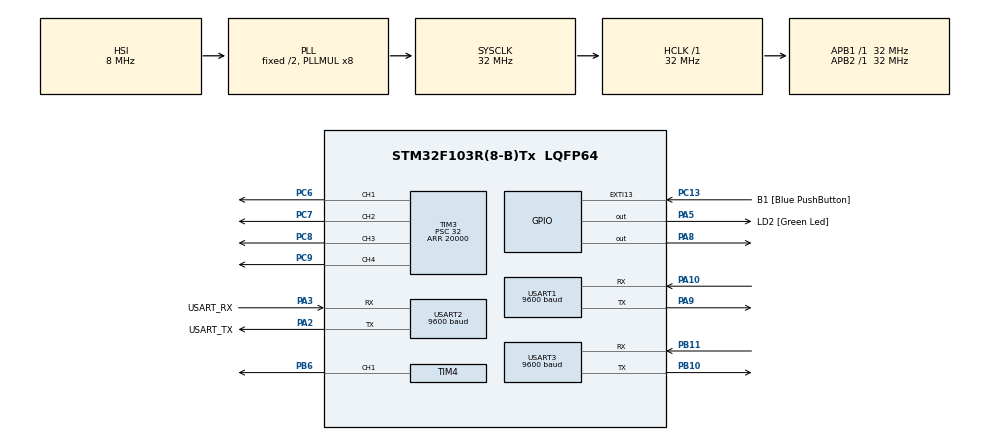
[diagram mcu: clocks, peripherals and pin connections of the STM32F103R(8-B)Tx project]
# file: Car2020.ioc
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Mcu.Family=STM32F1
Mcu.Name=STM32F103R(8-B)Tx
Mcu.Package=LQFP64
NVIC.EXTI15_10_IRQn=true\:3\:0\:true\:false\:true\:true\:true
NVIC.PriorityGroup=NVIC_PRIORITYGROUP_4
NVIC.TIM3_IRQn=true\:0\:0\:false\:true\:true\:1\:true\:true
NVIC.USART1_IRQn=true\:1\:0\:true\:false\:true\:true\:true
NVIC.USART2_IRQn=true\:2\:0\:true\:false\:true\:true\:true
PA10.Mode=Asynchronous
PA10.Signal=USART1_RX
PA13.GPIO_Label=TMS
PA13.Mode=Serial_Wire
PA13.Signal=SYS_JTMS-SWDIO
PA14.GPIO_Label=TCK
PA14.Mode=Serial_Wire
PA14.Signal=SYS_JTCK-SWCLK
PA2.GPIO_Label=USART_TX
PA2.GPIO_Mode=GPIO_MODE_AF_PP
PA2.GPIO_PuPd=GPIO_NOPULL
PA2.GPIO_Speed=GPIO_SPEED_FREQ_HIGH
PA2.Mode=Asynchronous
PA2.Signal=USART2_TX
PA3.GPIO_Label=USART_RX
PA3.GPIO_Mode=GPIO_MODE_AF_PP
PA3.GPIO_PuPd=GPIO_NOPULL
PA3.GPIO_Speed=GPIO_SPEED_FREQ_LOW
PA3.Mode=Asynchronous
PA3.Signal=USART2_RX
PA5.GPIO_Label=LD2 [Green Led]
PA5.GPIO_ModeDefaultOutputPP=GPIO_MODE_OUTPUT_PP
PA5.GPIO_PuPd=GPIO_NOPULL
PA5.GPIO_Speed=GPIO_SPEED_FREQ_LOW
PA5.Signal=GPIO_Output
PA8.Signal=GPIO_Output
PA9.Mode=Asynchronous
PA9.Signal=USART1_TX
PB10.Mode=Asynchronous
PB10.Signal=USART3_TX
PB11.Mode=Asynchronous
PB11.Signal=USART3_RX
PB3.GPIO_Label=SWO
PB3.Signal=SYS_JTDO-TRACESWO
PB6.GPIO_Speed=GPIO_SPEED_FREQ_HIGH
PB6.Signal=S_TIM4_CH1
PC13-TAMPER-RTC.GPIO_Label=B1 [Blue PushButton]
PC13-TAMPER-RTC.GPIO_PuPd=GPIO_NOPULL
PC13-TAMPER-RTC.Signal=GPXTI13
PC14-OSC32_IN.Mode=LSE-External-Oscillator
PC14-OSC32_IN.Signal=RCC_OSC32_IN
PC15-OSC32_OUT.Mode=LSE-External-Oscillator
PC15-OSC32_OUT.Signal=RCC_OSC32_OUT
PC6.GPIO_Speed=GPIO_SPEED_FREQ_LOW
PC6.Signal=S_TIM3_CH1
PC7.GPIO_Speed=GPIO_SPEED_FREQ_LOW
PC7.Signal=S_TIM3_CH2
PC8.Signal=S_TIM3_CH3
PC9.Signal=S_TIM3_CH4
PD0-OSC_IN.Mode=HSE-External-Clock-Source
PD0-OSC_IN.Signal=RCC_OSC_IN
PD1-OSC_OUT.Mode=HSE-External-Clock-Source
PD1-OSC_OUT.Signal=RCC_OSC_OUT
ProjectManager.HeapSize=0x200
ProjectManager.StackSize=0x400
ProjectManager.TargetToolchain=STM32CubeIDE
RCC.AHBFreq_Value=32000000
RCC.APB1Freq_Value=32000000
RCC.APB1TimFreq_Value=32000000
RCC.APB2Freq_Value=32000000
RCC.APB2TimFreq_Value=32000000
RCC.HCLKFreq_Value=32000000
RCC.PLLMUL=RCC_PLL_MUL8
RCC.RTCClockSelection=RCC_RTCCLKSOURCE_LSE
RCC.SYSCLKFreq_VALUE=32000000
RCC.SYSCLKSource=RCC_SYSCLKSOURCE_PLLCLK
RCC.USBFreq_Value=32000000
SH.S_TIM3_CH1.0=TIM3_CH1,PWM Generation1 CH1
SH.S_TIM3_CH2.0=TIM3_CH2,PWM Generation2 CH2
SH.S_TIM3_CH3.0=TIM3_CH3,PWM Generation3 CH3
SH.S_TIM3_CH4.0=TIM3_CH4,PWM Generation4 CH4
SH.S_TIM4_CH1.0=TIM4_CH1,PWM Generation1 CH1
TIM3.AutoReloadPreload=TIM_AUTORELOAD_PRELOAD_ENABLE
TIM3.Channel-PWM\ Generation1\ CH1=TIM_CHANNEL_1
TIM3.Channel-PWM\ Generation2\ CH2=TIM_CHANNEL_2
TIM3.Channel-PWM\ Generation3\ CH3=TIM_CHANNEL_3
TIM3.Channel-PWM\ Generation4\ CH4=TIM_CHANNEL_4
TIM3.OCPolarity_2=TIM_OCPOLARITY_HIGH
TIM3.Period=20000
TIM3.Prescaler=32
TIM3.Pulse-PWM\ Generation1\ CH1=1000
TIM3.Pulse-PWM\ Generation2\ CH2=15000
TIM3.Pulse-PWM\ Generation3\ CH3=15000
TIM3.Pulse-PWM\ Generation4\ CH4=15000
TIM3.TIM_MasterOutputTrigger=TIM_TRGO_UPDATE
TIM4.AutoReloadPreload=TIM_AUTORELOAD_PRELOAD_ENABLE
TIM4.Channel-PWM\ Generation1\ CH1=TIM_CHANNEL_1
TIM4.Period=20000
TIM4.Prescaler=32
TIM4.Pulse-PWM\ Generation1\ CH1=15000
USART1.BaudRate=9600
USART1.Parity=PARITY_NONE
USART1.VirtualMode=VM_ASYNC
USART2.BaudRate=9600
USART2.VirtualMode=VM_ASYNC
USART3.BaudRate=9600
USART3.VirtualMode=VM_ASYNC
VP_TIM4_VS_ClockSourceINT.Mode=Internal
board=NUCLEO-F103RB

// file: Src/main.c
/* USER CODE BEGIN Header */
/**
  ******************************************************************************
  * @file           : main.c
  * @brief          : Main program body
  ******************************************************************************
  * @attention
  *
  * <h2><center>&copy; Copyright (c) 2019 STMicroelectronics.
  * All rights reserved.</center></h2>
  *
  * This software component is licensed by ST under BSD 3-Clause license,
  * the "License"; You may not use this file except in compliance with the
  * License. You may obtain a copy of the License at:
  *                        opensource.org/licenses/BSD-3-Clause
  *
  ******************************************************************************
  */
/* USER CODE END Header */

#include "main.h"

/* USER CODE BEGIN PTD */
//#define prj_ARDUCONTROL
/* USER CODE END PTD */

/* USER CODE BEGIN PD */
#define PWM_NEUTRAL_POSTION 1500
#define PWM_FORWARD_OFFSET  50
#define PWM_BACKWARD_OFFSET -40
/* USER CODE END PD */

TIM_HandleTypeDef htim3;
TIM_HandleTypeDef htim4;

UART_HandleTypeDef huart1;
UART_HandleTypeDef huart2;
UART_HandleTypeDef huart3;

void SystemClock_Config(void);
static void MX_GPIO_Init(void);
static void MX_USART2_UART_Init(void);
static void MX_USART3_UART_Init(void);
static void MX_TIM3_Init(void);
static void MX_USART1_UART_Init(void);
static void MX_TIM4_Init(void);
static void MX_NVIC_Init(void);

/* USER CODE BEGIN 0 */
uint8_t rx_data;
HAL_UART_StateTypeDef state;
HAL_StatusTypeDef uart_status_rx;
HAL_StatusTypeDef uart_status_tx;
char tx_data[2] ={'A','T'};
TIM_OC_InitTypeDef sConfigOC_app = {0};
uint8_t x_pos;
uint8_t y_pos;
uint8_t transmit_counter=0;
uint8_t mirror_buffer[20];

int32_t led1_value;
int32_t led2_value;

int32_t speed_value;
int32_t steering_value;

uint8_t uart_usb_tx_buf[20]={"\nHello my PC!\n"};

uint8_t xstring[20]={"\nXpos lautet: "};
uint8_t ystring[20]={"\nYpos lautet: "};

uint8_t buffer[2];

/* USER CODE END 0 */

int main(void)
{

  /* MCU Configuration--------------------------------------------------------*/

  /* Reset of all peripherals, Initializes the Flash interface and the Systick. */
  HAL_Init();

  /* Configure the system clock */
  SystemClock_Config();

  /* Initialize all configured peripherals */
  MX_GPIO_Init();
  MX_USART2_UART_Init();
  MX_USART3_UART_Init();
  MX_TIM3_Init();
  MX_USART1_UART_Init();
  MX_TIM4_Init();

  /* Initialize interrupts */
  MX_NVIC_Init();
  /* USER CODE BEGIN 2 */
  HAL_UART_Init(&huart1);
//  HAL_TIM_Base_Start(&htim3);

  HAL_TIM_PWM_Start(&htim3, TIM_CHANNEL_2);
  HAL_TIM_PWM_Start(&htim3, TIM_CHANNEL_1);

  /* USER CODE END 2 */

  /* Infinite loop */
  /* USER CODE BEGIN WHILE */
  while (1)
  {
//	  uint8_t buffer_0;

//	  memset(&buffer[0], 0, 100);
//	  uart_status_rx=HAL_UART_Receive(&huart1, buffer, sizeof(buffer),100);

	  /* Receive signal from PC */
//	  if(HAL_UART_Receive(&huart2, buffer, sizeof(buffer),10)!= HAL_TIMEOUT)
//	  {
//		  led2_value = buffer[0];
////		  led1_value = buffer[1];
//	  }
//	  led2_value = buffer[0];
//
//	  	  __HAL_TIM_SET_COMPARE(&htim3,TIM_CHANNEL_1,led2_value*10);

	  /* Receive signal from HC06 */
	  HAL_UART_Receive_IT(&huart1, &buffer[0], sizeof(buffer));

	  /* process new signal for motor driver */

	  if(buffer[0] != steering_value)
	  {
		  steering_value = buffer[0];
		  __HAL_TIM_SET_COMPARE(&htim3,TIM_CHANNEL_2, 1000+steering_value*10);
	  }
	  if(buffer[1] != speed_value)
	  {
	     speed_value=buffer[1];

	     if(speed_value<=50)
	     {
	     __HAL_TIM_SET_COMPARE(&htim3,TIM_CHANNEL_1,PWM_NEUTRAL_POSTION+PWM_FORWARD_OFFSET+(50-speed_value)/4);
	     }
	  }

			 /*old code for bluetooth control */
//	  if(buffer[0]!=led1_value)
//	  {
//		  led1_value = buffer[0];
//		  __HAL_TIM_SET_COMPARE(&htim3,TIM_CHANNEL_2, 1000+led1_value*10);
//	  }
//	  if(buffer[1]!=led2_value)
//	  {
//		  led2_value = buffer[1];
//
//		  led2_value-=50;
//		  //__HAL_TIM_SET_COMPARE(&htim3,TIM_CHANNEL_1,1400+led2_value*2);
//		  __HAL_TIM_SET_COMPARE(&htim3,TIM_CHANNEL_1,1500+led2_value*2);
//	  }
//
//	  HAL_UART_Transmit(&huart2,&buffer[0], sizeof(buffer), 20);

//	  HAL_UART_Transmit(&huart1, buffer, sizeof(buffer),100);
//
//	  buffer_0=buffer[0];
//
//	  x_pos=buffer[0];
//	  y_pos=buffer[1];
//
//
//	  if(x_pos<0)
//	  {
//		  x_pos=-x_pos;
//	  }
//	  if(x_pos>100)
//	  {
//		  x_pos=100;
//	  }
//
//	  if(y_pos<0)
//	  {
//		  y_pos=0;
//	  }
//	  if(y_pos>100)
//	 	  {
//	 		  y_pos=100;
//	 	  }

//	  transmit_counter++;

//	  if(transmit_counter==5 /*&& uart_status_rx==HAL_OK*/)
//	  {
//		  uart_status_rx=HAL_UART_Receive(&huart2,&mirror_buffer[0], 20, 1000);
//	  HAL_UART_Transmit(&huart2,&uart_usb_tx_buf[0], sizeof(uart_usb_tx_buf), 1000);
//	  HAL_UART_Transmit(&huart2,&xstring[0], sizeof(xstring), 1000);
//	   HAL_UART_Transmit(&huart2,&buffer[0], 1, 1000);
//	  HAL_UART_Transmit(&huart2,&ystring[0], sizeof(ystring), 1000);

//		  if(uart_status_rx==HAL_OK)
//		  {
//			  HAL_UART_Transmit(&huart2,&mirror_buffer[0], 20, 1000);
//		  }
//		  transmit_counter=0;
////	  }
//
//		  HAL_UART_Transmit(&huart2,&mirror_buffer[0], 20, 1000);
//
//	  if(buffer_0>100)
//	  {
//		  HAL_GPIO_WritePin(GPIOA, GPIO_PIN_8, GPIO_PIN_SET);
//
//	  }
//	  else
//	  {
//		  HAL_GPIO_WritePin(GPIOA, GPIO_PIN_8, GPIO_PIN_RESET);
//	  }

	/* set PWM of LEDs */

//      &htim3->Instance->ARR=led1_value*20;
//	  htim3.Instance->ARR=led1_value*20;

//	  __HAL_TIM_SET_AUTORELOAD(&htim3, led1_value*20);

//	  __HAL_TIM_SET_COMPARE(&htim3,TIM_CHANNEL_2, 1000+led1_value*10);
//
//	  __HAL_TIM_SET_COMPARE(&htim3,TIM_CHANNEL_1,1000+led2_value*10);

    /* USER CODE END WHILE */

  }
}

void SystemClock_Config(void)
{
  RCC_OscInitTypeDef RCC_OscInitStruct = {0};
  RCC_ClkInitTypeDef RCC_ClkInitStruct = {0};

  /** Initializes the CPU, AHB and APB busses clocks
  */
  RCC_OscInitStruct.OscillatorType = RCC_OSCILLATORTYPE_HSI;
  RCC_OscInitStruct.HSIState = RCC_HSI_ON;
  RCC_OscInitStruct.HSICalibrationValue = RCC_HSICALIBRATION_DEFAULT;
  RCC_OscInitStruct.PLL.PLLState = RCC_PLL_ON;
  RCC_OscInitStruct.PLL.PLLSource = RCC_PLLSOURCE_HSI_DIV2;
  RCC_OscInitStruct.PLL.PLLMUL = RCC_PLL_MUL8;
  if (HAL_RCC_OscConfig(&RCC_OscInitStruct) != HAL_OK)
  {
    Error_Handler();
  }
  /** Initializes the CPU, AHB and APB busses clocks
  */
  RCC_ClkInitStruct.ClockType = RCC_CLOCKTYPE_HCLK|RCC_CLOCKTYPE_SYSCLK
                              |RCC_CLOCKTYPE_PCLK1|RCC_CLOCKTYPE_PCLK2;
  RCC_ClkInitStruct.SYSCLKSource = RCC_SYSCLKSOURCE_PLLCLK;
  RCC_ClkInitStruct.AHBCLKDivider = RCC_SYSCLK_DIV1;
  RCC_ClkInitStruct.APB1CLKDivider = RCC_HCLK_DIV1;
  RCC_ClkInitStruct.APB2CLKDivider = RCC_HCLK_DIV1;

  if (HAL_RCC_ClockConfig(&RCC_ClkInitStruct, FLASH_LATENCY_1) != HAL_OK)
  {
    Error_Handler();
  }
}

/**
  * @brief NVIC Configuration.
  * @retval None
  */
static void MX_NVIC_Init(void)
{
  /* TIM3_IRQn interrupt configuration */
  HAL_NVIC_SetPriority(TIM3_IRQn, 0, 0);
  HAL_NVIC_EnableIRQ(TIM3_IRQn);
}

static void MX_TIM3_Init(void)
{

  TIM_MasterConfigTypeDef sMasterConfig = {0};
  TIM_OC_InitTypeDef sConfigOC = {0};

  htim3.Instance = TIM3;
  htim3.Init.Prescaler = 32;
  htim3.Init.CounterMode = TIM_COUNTERMODE_UP;
  htim3.Init.Period = 20000;
  htim3.Init.ClockDivision = TIM_CLOCKDIVISION_DIV1;
  htim3.Init.AutoReloadPreload = TIM_AUTORELOAD_PRELOAD_ENABLE;
  if (HAL_TIM_PWM_Init(&htim3) != HAL_OK)
  {
    Error_Handler();
  }
  sMasterConfig.MasterOutputTrigger = TIM_TRGO_UPDATE;
  sMasterConfig.MasterSlaveMode = TIM_MASTERSLAVEMODE_DISABLE;
  if (HAL_TIMEx_MasterConfigSynchronization(&htim3, &sMasterConfig) != HAL_OK)
  {
    Error_Handler();
  }
  sConfigOC.OCMode = TIM_OCMODE_PWM1;
  sConfigOC.Pulse = 1500;
  sConfigOC.OCPolarity = TIM_OCPOLARITY_HIGH;
  sConfigOC.OCFastMode = TIM_OCFAST_DISABLE;
  if (HAL_TIM_PWM_ConfigChannel(&htim3, &sConfigOC, TIM_CHANNEL_1) != HAL_OK)
  {
    Error_Handler();
  }
  sConfigOC.Pulse = 1500;
  if (HAL_TIM_PWM_ConfigChannel(&htim3, &sConfigOC, TIM_CHANNEL_2) != HAL_OK)
  {
    Error_Handler();
  }
  if (HAL_TIM_PWM_ConfigChannel(&htim3, &sConfigOC, TIM_CHANNEL_3) != HAL_OK)
  {
    Error_Handler();
  }
  if (HAL_TIM_PWM_ConfigChannel(&htim3, &sConfigOC, TIM_CHANNEL_4) != HAL_OK)
  {
    Error_Handler();
  }
  HAL_TIM_MspPostInit(&htim3);

}

static void MX_TIM4_Init(void)
{

  TIM_ClockConfigTypeDef sClockSourceConfig = {0};
  TIM_MasterConfigTypeDef sMasterConfig = {0};
  TIM_OC_InitTypeDef sConfigOC = {0};

  htim4.Instance = TIM4;
  htim4.Init.Prescaler = 32;
  htim4.Init.CounterMode = TIM_COUNTERMODE_UP;
  htim4.Init.Period = 20000;
  htim4.Init.ClockDivision = TIM_CLOCKDIVISION_DIV1;
  htim4.Init.AutoReloadPreload = TIM_AUTORELOAD_PRELOAD_ENABLE;
  if (HAL_TIM_Base_Init(&htim4) != HAL_OK)
  {
    Error_Handler();
  }
  sClockSourceConfig.ClockSource = TIM_CLOCKSOURCE_INTERNAL;
  if (HAL_TIM_ConfigClockSource(&htim4, &sClockSourceConfig) != HAL_OK)
  {
    Error_Handler();
  }
  if (HAL_TIM_PWM_Init(&htim4) != HAL_OK)
  {
    Error_Handler();
  }
  sMasterConfig.MasterOutputTrigger = TIM_TRGO_RESET;
  sMasterConfig.MasterSlaveMode = TIM_MASTERSLAVEMODE_DISABLE;
  if (HAL_TIMEx_MasterConfigSynchronization(&htim4, &sMasterConfig) != HAL_OK)
  {
    Error_Handler();
  }
  sConfigOC.OCMode = TIM_OCMODE_PWM1;
  sConfigOC.Pulse = 15000;
  sConfigOC.OCPolarity = TIM_OCPOLARITY_HIGH;
  sConfigOC.OCFastMode = TIM_OCFAST_DISABLE;
  if (HAL_TIM_PWM_ConfigChannel(&htim4, &sConfigOC, TIM_CHANNEL_1) != HAL_OK)
  {
    Error_Handler();
  }
  HAL_TIM_MspPostInit(&htim4);

}

static void MX_USART1_UART_Init(void)
{

  huart1.Instance = USART1;
  huart1.Init.BaudRate = 9600;
  huart1.Init.WordLength = UART_WORDLENGTH_8B;
  huart1.Init.StopBits = UART_STOPBITS_1;
  huart1.Init.Parity = UART_PARITY_NONE;
  huart1.Init.Mode = UART_MODE_TX_RX;
  huart1.Init.HwFlowCtl = UART_HWCONTROL_NONE;
  huart1.Init.OverSampling = UART_OVERSAMPLING_16;
  if (HAL_UART_Init(&huart1) != HAL_OK)
  {
    Error_Handler();
  }

}

static void MX_USART2_UART_Init(void)
{

  huart2.Instance = USART2;
  huart2.Init.BaudRate = 9600;
  huart2.Init.WordLength = UART_WORDLENGTH_8B;
  huart2.Init.StopBits = UART_STOPBITS_1;
  huart2.Init.Parity = UART_PARITY_NONE;
  huart2.Init.Mode = UART_MODE_TX_RX;
  huart2.Init.HwFlowCtl = UART_HWCONTROL_NONE;
  huart2.Init.OverSampling = UART_OVERSAMPLING_16;
  if (HAL_UART_Init(&huart2) != HAL_OK)
  {
    Error_Handler();
  }

}

static void MX_USART3_UART_Init(void)
{

  huart3.Instance = USART3;
  huart3.Init.BaudRate = 9600;
  huart3.Init.WordLength = UART_WORDLENGTH_8B;
  huart3.Init.StopBits = UART_STOPBITS_1;
  huart3.Init.Parity = UART_PARITY_NONE;
  huart3.Init.Mode = UART_MODE_TX_RX;
  huart3.Init.HwFlowCtl = UART_HWCONTROL_NONE;
  huart3.Init.OverSampling = UART_OVERSAMPLING_16;
  if (HAL_UART_Init(&huart3) != HAL_OK)
  {
    Error_Handler();
  }

}

static void MX_GPIO_Init(void)
{
  GPIO_InitTypeDef GPIO_InitStruct = {0};

  /* GPIO Ports Clock Enable */
  __HAL_RCC_GPIOC_CLK_ENABLE();
  __HAL_RCC_GPIOD_CLK_ENABLE();
  __HAL_RCC_GPIOA_CLK_ENABLE();
  __HAL_RCC_GPIOB_CLK_ENABLE();

  /*Configure GPIO pin Output Level */
  HAL_GPIO_WritePin(GPIOA, LD2_Pin|GPIO_PIN_8, GPIO_PIN_RESET);

  /*Configure GPIO pin : B1_Pin */
  GPIO_InitStruct.Pin = B1_Pin;
  GPIO_InitStruct.Mode = GPIO_MODE_IT_RISING;
  GPIO_InitStruct.Pull = GPIO_NOPULL;
  HAL_GPIO_Init(B1_GPIO_Port, &GPIO_InitStruct);

  /*Configure GPIO pins : LD2_Pin PA8 */
  GPIO_InitStruct.Pin = LD2_Pin|GPIO_PIN_8;
  GPIO_InitStruct.Mode = GPIO_MODE_OUTPUT_PP;
  GPIO_InitStruct.Pull = GPIO_NOPULL;
  GPIO_InitStruct.Speed = GPIO_SPEED_FREQ_LOW;
  HAL_GPIO_Init(GPIOA, &GPIO_InitStruct);

  /* EXTI interrupt init*/
  HAL_NVIC_SetPriority(EXTI15_10_IRQn, 3, 0);
  HAL_NVIC_EnableIRQ(EXTI15_10_IRQn);

}

void Error_Handler(void)
{
}

/************************ (C) COPYRIGHT STMicroelectronics *****END OF FILE****/
